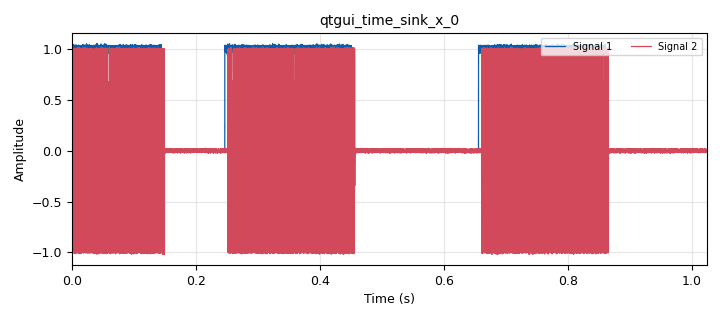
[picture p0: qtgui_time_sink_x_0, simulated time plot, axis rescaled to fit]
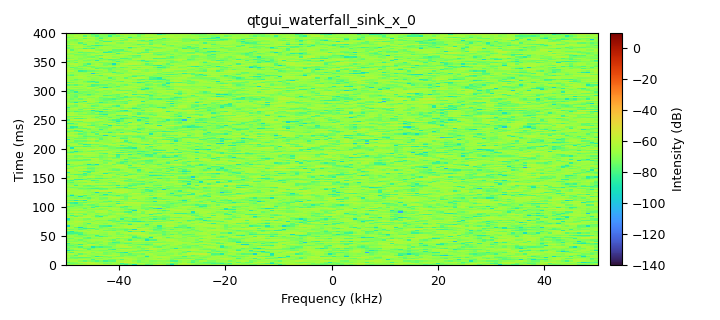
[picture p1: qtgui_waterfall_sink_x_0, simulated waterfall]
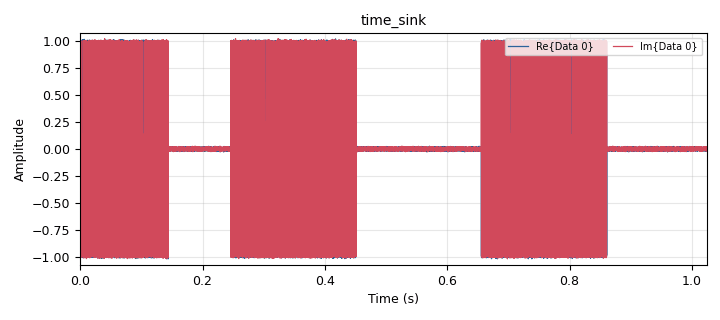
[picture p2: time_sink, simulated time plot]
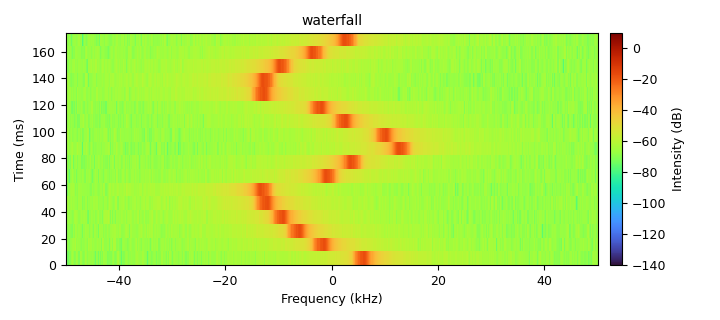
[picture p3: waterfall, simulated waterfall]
options:
  parameters:
    author: J. Gilbert
    copyright: 2021 J. Gilbert
    description: Simple example of Tags to PDU block usage
    generate_options: qt_gui
    id: tags_to_pdu_example
    output_language: python
    title: Tags to PDU Example Flowgraph
  states: {}

blocks:
- name: samp_rate
  id: variable
  parameters:
    value: '100000'
  states: {}
- name: add
  id: blocks_add_xx
  parameters:
    type: complex
  states: {}
- name: blocks_delay_0
  id: blocks_delay
  parameters:
    delay: '500'
    type: complex
  states: {}
- name: c2r
  id: blocks_complex_to_real
  parameters: {}
  states: {}
- name: f2c
  id: blocks_float_to_complex
  parameters: {}
  states: {}
- name: f2s
  id: blocks_float_to_short
  parameters:
    scale: '1'
  states: {}
- name: fm
  id: analog_frequency_modulator_fc
  parameters:
    sensitivity: '2'
  states: {}
- name: fns
  id: analog_fastnoise_source_x
  parameters:
    amp: '.01'
    noise_type: analog.GR_GAUSSIAN
    samples: '8192'
    seed: '0'
    type: complex
  states: {}
- name: m2
  id: blocks_complex_to_mag_squared
  parameters: {}
  states: {}
- name: ma
  id: blocks_moving_average_xx
  parameters:
    length: '1000'
    max_iter: '4000'
    scale: 1/1000.0
    type: float
  states: {}
- name: msg_dbg
  id: blocks_message_debug
  parameters:
    en_uvec: 'False'
  states: {}
- name: mult
  id: blocks_multiply_xx
  parameters:
    type: complex
  states: {}
- name: note
  id: note
  parameters:
    comment: |-
      This flowgraph will generate bursty upchirps and will convert them
      to PDUs by tagging them based on amplitude and converting using
      the Tags to PDU block.
    note: README
  states: {}
- name: qtgui_time_sink_x_0
  id: qtgui_time_sink_x
  parameters:
    nconnections: '2'
    size: '102400'
    srate: samp_rate
    type: float
  states: {}
- name: qtgui_waterfall_sink_x_0
  id: qtgui_waterfall_sink_x
  parameters:
    bw: samp_rate
    fc: '0'
    fftsize: '128'
    gui_hint: 0,1,1,1
    type: complex
    update_time: '0.002'
  states: {}
- name: rand
  id: analog_random_source_x
  parameters:
    max: '2'
    min: '0'
    num_samps: '10000'
    repeat: 'True'
    type: short
  states: {}
- name: rep
  id: blocks_repeat
  parameters:
    interp: '10240'
    type: short
  states: {}
- name: s2f
  id: blocks_short_to_float
  parameters:
    scale: '1'
  states: {}
- name: sig
  id: analog_sig_source_x
  parameters:
    amp: '1'
    freq: '10'
    offset: '-0.5'
    phase: '0'
    samp_rate: samp_rate
    type: float
    waveform: analog.GR_TRI_WAVE
  states: {}
- name: tagger
  id: blocks_burst_tagger
  parameters:
    false_key: EOB
    false_value: 'False'
    true_key: SOB
    true_value: 'True'
    type: complex
  states: {}
- name: tags_to_pdu
  id: pdu_tags_to_pdu_x
  parameters:
    boost_time: 'True'
    end_tag: EOB
    max_pdu_size: '1024000'
    start_tag: SOB
    start_time: '1.0'
    type: c
  states: {}
- name: thresh
  id: blocks_threshold_ff
  parameters:
    high: '0.1'
    init: '0'
    low: '0.08'
  states: {}
- name: throttle
  id: blocks_throttle
  parameters:
    samples_per_second: samp_rate
    type: float
  states: {}
- name: time_sink
  id: qtgui_time_sink_x
  parameters:
    gui_hint: 0,0,1,1
    size: '102400'
    srate: samp_rate
    type: complex
  states: {}
- name: vs0
  id: virtual_sink
  parameters:
    stream_id: in
  states: {}
- name: vs1
  id: virtual_source
  parameters:
    stream_id: in
  states: {}
- name: vs3
  id: virtual_sink
  parameters:
    stream_id: tag
  states: {}
- name: vs4
  id: virtual_source
  parameters:
    stream_id: tag
  states: {}
- name: vs4_0
  id: virtual_source
  parameters:
    stream_id: tag
  states: {}
- name: vs5
  id: virtual_source
  parameters:
    stream_id: in
  states: {}
- name: waterfall
  id: qtgui_waterfall_sink_x
  parameters:
    bw: samp_rate
    fc: '0'
    gui_hint: 0,2,1,1
    type: msg_complex
    update_time: '0.01'
  states: {}

connections:
- [add, '0', vs0, '0']
- [blocks_delay_0, '0', tagger, '0']
- [c2r, '0', qtgui_time_sink_x_0, '1']
- [f2c, '0', mult, '1']
- [f2s, '0', tagger, '1']
- [fm, '0', mult, '0']
- [fns, '0', add, '1']
- [m2, '0', ma, '0']
- [m2, '0', qtgui_time_sink_x_0, '0']
- [ma, '0', thresh, '0']
- [mult, '0', add, '0']
- [rand, '0', rep, '0']
- [rep, '0', s2f, '0']
- [s2f, '0', f2c, '0']
- [sig, '0', throttle, '0']
- [tagger, '0', vs3, '0']
- [tags_to_pdu, pdus, msg_dbg, print]
- [tags_to_pdu, pdus, waterfall, in]
- [thresh, '0', f2s, '0']
- [throttle, '0', fm, '0']
- [vs1, '0', blocks_delay_0, '0']
- [vs1, '0', m2, '0']
- [vs4, '0', tags_to_pdu, '0']
- [vs4_0, '0', c2r, '0']
- [vs5, '0', qtgui_waterfall_sink_x_0, '0']
- [vs5, '0', time_sink, '0']

metadata:
  file_format: 1
